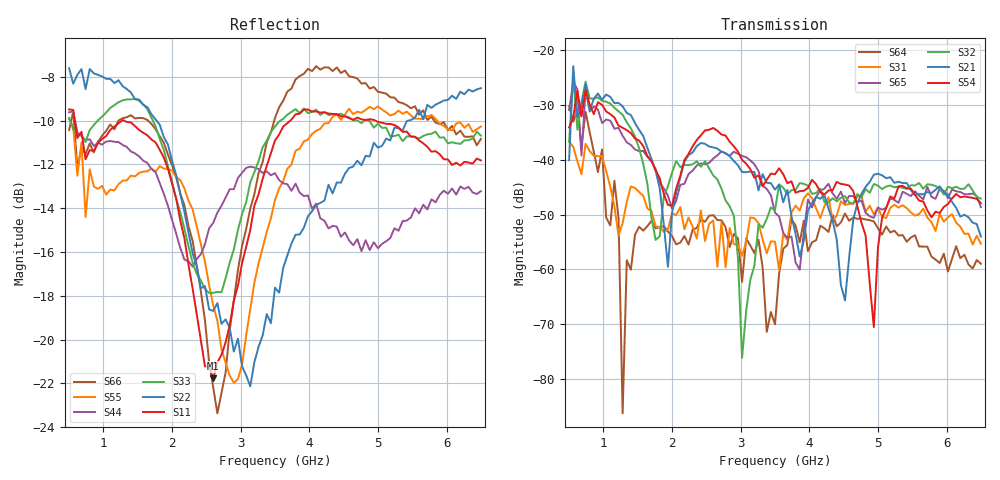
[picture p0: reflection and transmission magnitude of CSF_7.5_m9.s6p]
!Keysight Technologies,M9804A,MY58100912,A.14.10.03
!Date: Thursday, April 27, 2023 10:28:33
!Correction: S11(C  6-Port  )
!S12(C  6-Port  )
!S13(C  6-Port  )
!S14(C  6-Port  )
!S15(C  6-Port  )
!S16(C  6-Port  )
!S21(C  6-Port  )
!S22(C  6-Port  )
!S23(C  6-Port  )
!S24(C  6-Port  )
!S25(C  6-Port  )
!S26(C  6-Port  )
!S31(C  6-Port  )
!S32(C  6-Port  )
!S33(C  6-Port  )
!S34(C  6-Port  )
!S35(C  6-Port  )
!S36(C  6-Port  )
!S41(C  6-Port  )
!S42(C  6-Port  )
!S43(C  6-Port  )
!S44(C  6-Port  )
!S45(C  6-Port  )
!S46(C  6-Port  )
!S51(C  6-Port  )
!S52(C  6-Port  )
!S53(C  6-Port  )
!S54(C  6-Port  )
!S55(C  6-Port  )
!S56(C  6-Port  )
!S61(C  6-Port  )
!S62(C  6-Port  )
!S63(C  6-Port  )
!S64(C  6-Port  )
!S65(C  6-Port  )
!S66(C  6-Port  )
!S6P File: Measurement: :
# Hz S  RI  R 50
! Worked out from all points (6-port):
!   101 points, 500 MHz to 6.5 GHz, reference 50 ohm
!   strongest paths, dB at 500 MHz, 2 GHz, 3.5 GHz, 5 GHz, 6.5 GHz:
!     S54: -34.1, -48.4, -42.7, -56.1, -47.9
!     S21: -40.1, -49.7, -45.5, -42.6, -54.0
!     S32: -36.7, -42.3, -49.2, -44.7, -47.1
!     S65: -30.9, -48.9, -49.7, -48.7, -48.6
!     S31: -36.7, -49.7, -54.9, -48.7, -55.3
!     S64: -30.2, -53.9, -70.0, -52.5, -59.0
!   lowest |S11| = -21.8 dB at 2.6 GHz (marker M1), VSWR 1.18, Z = 42.7 + j1.98 ohm
!   |S11| at or under -10 dB: 582.7 MHz to 1.27 GHz (686.8 MHz wide, 74.2 % of centre); 1.297 GHz to 3.723 GHz (2.425 GHz wide, 96.6 % of centre); 4.961 GHz to end of sweep
